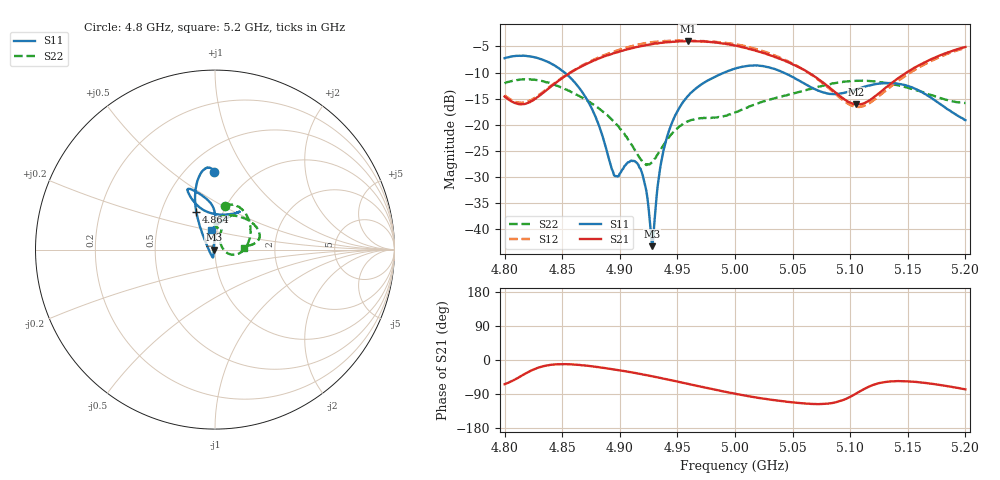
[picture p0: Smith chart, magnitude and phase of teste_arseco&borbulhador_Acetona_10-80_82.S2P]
! Network Analyzer HP8722D
! Hewlett-Packard
! Data name: Linha & Wilkinson
! Saver's name: Rodrigo Anjos
! Comments: Teste da utilização de aquisição
! continua pelo VNA HP8722D
! Time and date: 25/4/2025 15:57
!  Frequency  S11  S21  S12  S22
# HZ  S  MA R 50
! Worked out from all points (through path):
!   401 points, 4.8 GHz to 5.2 GHz, reference 50 ohm
!   highest |S21| = -3.97 dB at 4.959 GHz (marker M1); lowest = -16.1 dB at 5.105 GHz (marker M2)
!   lowest |S11| = -43.3 dB at 4.928 GHz (marker M3), VSWR 1.01, Z = 49.3 - j0.105 ohm
!   |S11| at or under -10 dB: 4.852 GHz to 4.991 GHz (138.7 MHz wide, 2.82 % of centre); 5.042 GHz to end of sweep
!   |S22| runs from -27.7 to -11.3 dB; largest |S21 - S12| = 1.2
!   S11 on the Smith chart (normalised r, x): 4.8 GHz: 0.68, +0.72; 4.864 GHz: 0.75, +0.33; 5.2 GHz: 0.94, +0.21
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4.8e9  0.4342 90.6  0.1864 -63.8  0.1909 69.7  0.2491 77.1
4.82e9  0.453 96.9  0.1616 -32.5  0.1669 98.4  0.272 61.8
4.844e9  0.3654 106.7  0.2503 -11.6  0.2534 119.1  0.2403 35.5
4.864e9  0.2317 116.5  0.3489 -12.9  0.3528 121.0  0.1901 12.2
4.867e9  0.2082 118.3  0.3637 -13.9  0.3676 120.7  0.1828 8.6
4.88e9  0.111 128.5  0.423 -18.5  0.4334 118.2  0.1487 -5.1
4.895e9  0.03285 -173.6  0.4852 -25.1  0.5009 113.8  0.1072 -15.7
4.91e9  0.04547 -106.1  0.5393 -32.6  0.5647 107.3  0.06497 -13.9
4.917e9  0.03899 -103.4  0.5629 -36.5  0.5893 103.6  0.04859 -1.0
4.922e9  0.02654 -107.3  0.5767 -39.2  0.6033 100.8  0.04226 16.0
4.928e9  0.006877 -171.1  0.5923 -43.0  0.6188 97.1  0.04369 41.1
4.93e9  0.01152 123.4  0.5975 -44.2  0.6195 95.8  0.04688 48.1
4.934e9  0.03199 99.5  0.6051 -46.8  0.6294 93.2  0.05455 57.9
4.943e9  0.08965 90.7  0.618 -52.5  0.6364 87.4  0.07692 68.8
4.959e9  0.1881 89.6  0.633 -62.8  0.6388 77.3  0.1077 71.4
5e9  0.3451 109.1  0.5727 -89.0  0.5918 50.8  0.1313 88.6
5.029e9  0.3561 115.1  0.4695 -103.8  0.4865 34.4  0.1723 85.9
5.067e9  0.226 105.2  0.3011 -115.8  0.2986 23.6  0.2222 57.3
5.105e9  0.2186 65.2  0.1565 -88.7  0.1486 54.3  0.2632 25.6
5.134e9  0.2508 57.0  0.2406 -56.7  0.2267 88.7  0.2484 12.4
5.168e9  0.1879 69.1  0.4136 -61.8  0.3969 85.2  0.196 7.0
5.2e9  0.1106 100.5  0.5554 -77.5  0.5453 70.2  0.1614 3.8
